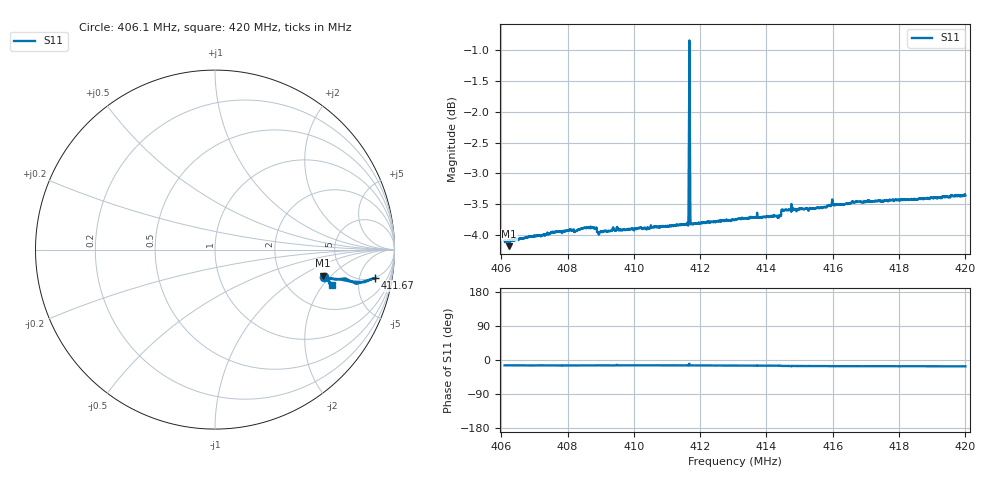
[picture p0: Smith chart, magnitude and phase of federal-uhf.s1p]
! Calibrated averaged scanner-service zoom
# Hz S RI R 50
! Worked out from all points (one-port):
!   2001 points, 406.1 MHz to 420 MHz, reference 50 ohm
!   lowest |S11| = -4.2 dB at 406.24 MHz (marker M1), VSWR 4.23, Z = 171 - j80.5 ohm
!   |S11| at or under -10 dB: nowhere
!   S11 on the Smith chart (normalised r, x): 406.1 MHz: 3.41, -1.70; 411.67 MHz: 5, -9; 420 MHz: 3.36, -2.44
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4.061e8  0.6053 -0.1519
4.06239e8  0.6006 -0.1453
4.078375e8  0.6153 -0.1573
4.085394e8  0.6193 -0.1591
4.088105e8  0.6189 -0.1573
4.089564e8  0.6141 -0.1522
4.093387e8  0.6168 -0.1558
4.094708e8  0.6201 -0.1504
4.09575e8  0.6181 -0.1565
4.113125e8  0.6234 -0.1574
4.115766e8  0.6242 -0.1578
4.115905e8  0.624 -0.1587
4.116114e8  0.6255 -0.1581
4.116183e8  0.6248 -0.1601
4.116322e8  0.624 -0.1564
4.116739e8  0.8936 -0.1573
4.117295e8  0.6243 -0.1578
4.117434e8  0.6243 -0.1591
4.117573e8  0.6247 -0.1587
4.117642e8  0.624 -0.1584
4.117782e8  0.6244 -0.159
4.1305e8  0.6281 -0.1643
4.143705e8  0.6283 -0.1734
4.145164e8  0.6366 -0.1787
4.147875e8  0.6363 -0.1802
4.16525e8  0.6422 -0.1874
4.182625e8  0.6464 -0.1903
4.2e8  0.6506 -0.1955
